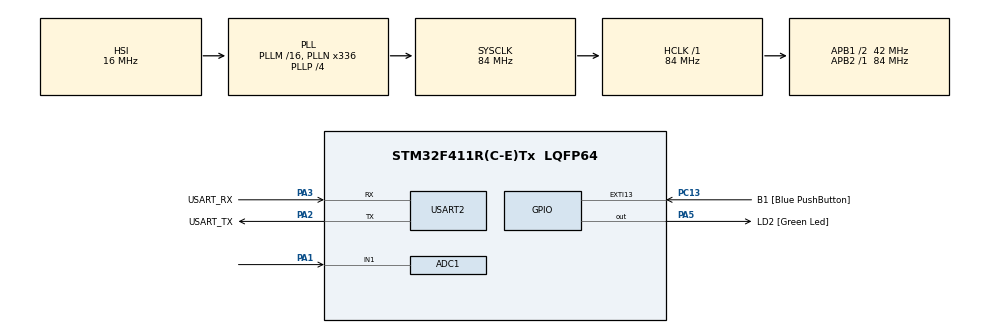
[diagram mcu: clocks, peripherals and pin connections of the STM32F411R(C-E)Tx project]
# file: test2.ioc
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ADC1.Channel-0\#ChannelRegularConversion=ADC_CHANNEL_1
ADC1.Channel-1\#ChannelRegularConversion=ADC_CHANNEL_TEMPSENSOR
ADC1.DMAContinuousRequests=ENABLE
ADC1.ExternalTrigConv=ADC_EXTERNALTRIGCONV_T2_TRGO
ADC1.InjNumberOfConversion=0
ADC1.NbrOfConversion=2
ADC1.NbrOfConversionFlag=1
ADC1.Rank-0\#ChannelRegularConversion=1
ADC1.Rank-1\#ChannelRegularConversion=2
ADC1.SamplingTime-0\#ChannelRegularConversion=ADC_SAMPLETIME_480CYCLES
ADC1.SamplingTime-1\#ChannelRegularConversion=ADC_SAMPLETIME_480CYCLES
ADC1.ScanConvMode=ENABLE
ADC1.master=1
Dma.ADC1.0.Direction=DMA_PERIPH_TO_MEMORY
Dma.ADC1.0.FIFOMode=DMA_FIFOMODE_DISABLE
Dma.ADC1.0.Instance=DMA2_Stream0
Dma.ADC1.0.MemDataAlignment=DMA_MDATAALIGN_HALFWORD
Dma.ADC1.0.MemInc=DMA_MINC_ENABLE
Dma.ADC1.0.Mode=DMA_CIRCULAR
Dma.ADC1.0.PeriphDataAlignment=DMA_PDATAALIGN_HALFWORD
Dma.ADC1.0.PeriphInc=DMA_PINC_DISABLE
Dma.ADC1.0.Priority=DMA_PRIORITY_LOW
Dma.Request0=ADC1
Dma.Request1=USART2_TX
Dma.USART2_TX.1.Direction=DMA_MEMORY_TO_PERIPH
Dma.USART2_TX.1.FIFOMode=DMA_FIFOMODE_DISABLE
Dma.USART2_TX.1.Instance=DMA1_Stream6
Dma.USART2_TX.1.MemDataAlignment=DMA_MDATAALIGN_BYTE
Dma.USART2_TX.1.MemInc=DMA_MINC_ENABLE
Dma.USART2_TX.1.Mode=DMA_NORMAL
Dma.USART2_TX.1.PeriphDataAlignment=DMA_PDATAALIGN_BYTE
Dma.USART2_TX.1.PeriphInc=DMA_PINC_DISABLE
Dma.USART2_TX.1.Priority=DMA_PRIORITY_LOW
Mcu.Family=STM32F4
Mcu.Name=STM32F411R(C-E)Tx
Mcu.Package=LQFP64
NVIC.DMA1_Stream6_IRQn=true\:0\:0\:false\:false\:true\:false\:true\:true
NVIC.DMA2_Stream0_IRQn=true\:0\:0\:false\:false\:true\:false\:true\:true
NVIC.PriorityGroup=NVIC_PRIORITYGROUP_0
NVIC.USART2_IRQn=true\:0\:0\:false\:false\:true\:true\:true\:true
PA1.Signal=ADCx_IN1
PA13.GPIO_Label=TMS
PA13.Mode=Serial_Wire
PA13.Signal=SYS_JTMS-SWDIO
PA14.GPIO_Label=TCK
PA14.Mode=Serial_Wire
PA14.Signal=SYS_JTCK-SWCLK
PA2.GPIO_Label=USART_TX
PA2.Mode=Asynchronous
PA2.Signal=USART2_TX
PA3.GPIO_Label=USART_RX
PA3.Mode=Asynchronous
PA3.Signal=USART2_RX
PA5.GPIO_Label=LD2 [Green Led]
PA5.Signal=GPIO_Output
PB3.GPIO_Label=SWO
PB3.Signal=SYS_JTDO-SWO
PC13-ANTI_TAMP.GPIO_Label=B1 [Blue PushButton]
PC13-ANTI_TAMP.GPIO_ModeDefaultEXTI=GPIO_MODE_IT_FALLING
PC13-ANTI_TAMP.Signal=GPXTI13
PC14-OSC32_IN.Mode=LSE-External-Oscillator
PC14-OSC32_IN.Signal=RCC_OSC32_IN
PC15-OSC32_OUT.Mode=LSE-External-Oscillator
PC15-OSC32_OUT.Signal=RCC_OSC32_OUT
PH0\ -\ OSC_IN.Mode=HSE-External-Clock-Source
PH0\ -\ OSC_IN.Signal=RCC_OSC_IN
PH1\ -\ OSC_OUT.Mode=HSE-External-Clock-Source
PH1\ -\ OSC_OUT.Signal=RCC_OSC_OUT
ProjectManager.HeapSize=0x200
ProjectManager.StackSize=0x400
ProjectManager.TargetToolchain=STM32CubeIDE
RCC.48MHZClocksFreq_Value=84000000
RCC.AHBFreq_Value=84000000
RCC.APB1CLKDivider=RCC_HCLK_DIV2
RCC.APB1Freq_Value=42000000
RCC.APB1TimFreq_Value=84000000
RCC.APB2Freq_Value=84000000
RCC.APB2TimFreq_Value=84000000
RCC.CortexFreq_Value=84000000
RCC.FLatency-AdvancedSettings=FLASH_LATENCY_2
RCC.HCLKFreq_Value=84000000
RCC.HSE_VALUE=8000000
RCC.HSI_VALUE=16000000
RCC.PLLN=336
RCC.PLLP=RCC_PLLP_DIV4
RCC.SYSCLKFreq_VALUE=84000000
RCC.SYSCLKSource=RCC_SYSCLKSOURCE_PLLCLK
RCC.VCOOutputFreq_Value=336000000
SH.ADCx_IN1.0=ADC1_IN1,IN1
TIM2.Period=29
TIM2.Prescaler=8399
TIM2.TIM_MasterOutputTrigger=TIM_TRGO_UPDATE
USART2.VirtualMode=VM_ASYNC
VP_ADC1_TempSens_Input.Mode=IN-TempSens
VP_TIM2_VS_ClockSourceINT.Mode=Internal
board=NUCLEO-F411RE

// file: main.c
/* USER CODE BEGIN Header */
/**
  ******************************************************************************
  * @file           : main.c
  * @brief          : Main program body
  ******************************************************************************
  * @attention
  *
  * Copyright (c) 2023 STMicroelectronics.
  * All rights reserved.
  *
  * This software is licensed under terms that can be found in the LICENSE file
  * in the root directory of this software component.
  * If no LICENSE file comes with this software, it is provided AS-IS.
  *
  ******************************************************************************
  */
/* USER CODE END Header */
#include "main.h"

ADC_HandleTypeDef hadc1;
DMA_HandleTypeDef hdma_adc1;

TIM_HandleTypeDef htim2;

UART_HandleTypeDef huart2;
DMA_HandleTypeDef hdma_usart2_tx;

/* USER CODE BEGIN PV */
volatile uint16_t ADC_READ[2];
volatile uint8_t buf_tx[100];
volatile uint8_t flag_tx = 0;
/* USER CODE END PV */

void SystemClock_Config(void);
static void MX_GPIO_Init(void);
static void MX_DMA_Init(void);
static void MX_USART2_UART_Init(void);
static void MX_ADC1_Init(void);
static void MX_TIM2_Init(void);
/* USER CODE BEGIN PFP */

void HAL_ADC_ConvCpltCallback(ADC_HandleTypeDef *hadc){
	if (hadc->Instance == ADC1) {
		if (flag_tx == 0) {
			uint16_t tx_cnt;
			tx_cnt = snprintf(buf_tx, sizeof(buf_tx), "%d, %d\n", ADC_READ[0], ADC_READ[1]);
			HAL_UART_Transmit_DMA(&huart2, buf_tx, tx_cnt);
			flag_tx = 1;
		}
	}
}

void HAL_UART_TxCpltCallback(UART_HandleTypeDef *huart) {
	if (huart->Instance == USART2) {
		flag_tx = 0;
	}
}

/* USER CODE END PFP */

int main(void)
{

  /* MCU Configuration--------------------------------------------------------*/

  /* Reset of all peripherals, Initializes the Flash interface and the Systick. */
  HAL_Init();

  /* Configure the system clock */
  SystemClock_Config();

  /* Initialize all configured peripherals */
  MX_GPIO_Init();
  MX_DMA_Init();
  MX_USART2_UART_Init();
  MX_ADC1_Init();
  MX_TIM2_Init();
  /* USER CODE BEGIN 2 */
  HAL_TIM_Base_Start(&htim2);
  HAL_ADC_Start_DMA(&hadc1, ADC_READ, 2);
  /* USER CODE END 2 */

  /* Infinite loop */
  while (1)
  {

  }
}

void SystemClock_Config(void)
{
  RCC_OscInitTypeDef RCC_OscInitStruct = {0};
  RCC_ClkInitTypeDef RCC_ClkInitStruct = {0};

  /** Configure the main internal regulator output voltage
  */
  __HAL_RCC_PWR_CLK_ENABLE();
  __HAL_PWR_VOLTAGESCALING_CONFIG(PWR_REGULATOR_VOLTAGE_SCALE1);

  /** Initializes the RCC Oscillators according to the specified parameters
  * in the RCC_OscInitTypeDef structure.
  */
  RCC_OscInitStruct.OscillatorType = RCC_OSCILLATORTYPE_HSI;
  RCC_OscInitStruct.HSIState = RCC_HSI_ON;
  RCC_OscInitStruct.HSICalibrationValue = RCC_HSICALIBRATION_DEFAULT;
  RCC_OscInitStruct.PLL.PLLState = RCC_PLL_ON;
  RCC_OscInitStruct.PLL.PLLSource = RCC_PLLSOURCE_HSI;
  RCC_OscInitStruct.PLL.PLLM = 16;
  RCC_OscInitStruct.PLL.PLLN = 336;
  RCC_OscInitStruct.PLL.PLLP = RCC_PLLP_DIV4;
  RCC_OscInitStruct.PLL.PLLQ = 4;
  if (HAL_RCC_OscConfig(&RCC_OscInitStruct) != HAL_OK)
  {
    Error_Handler();
  }

  /** Initializes the CPU, AHB and APB buses clocks
  */
  RCC_ClkInitStruct.ClockType = RCC_CLOCKTYPE_HCLK|RCC_CLOCKTYPE_SYSCLK
                              |RCC_CLOCKTYPE_PCLK1|RCC_CLOCKTYPE_PCLK2;
  RCC_ClkInitStruct.SYSCLKSource = RCC_SYSCLKSOURCE_PLLCLK;
  RCC_ClkInitStruct.AHBCLKDivider = RCC_SYSCLK_DIV1;
  RCC_ClkInitStruct.APB1CLKDivider = RCC_HCLK_DIV2;
  RCC_ClkInitStruct.APB2CLKDivider = RCC_HCLK_DIV1;

  if (HAL_RCC_ClockConfig(&RCC_ClkInitStruct, FLASH_LATENCY_2) != HAL_OK)
  {
    Error_Handler();
  }
}

static void MX_ADC1_Init(void)
{

  ADC_ChannelConfTypeDef sConfig = {0};

  /** Configure the global features of the ADC (Clock, Resolution, Data Alignment and number of conversion)
  */
  hadc1.Instance = ADC1;
  hadc1.Init.ClockPrescaler = ADC_CLOCK_SYNC_PCLK_DIV4;
  hadc1.Init.Resolution = ADC_RESOLUTION_12B;
  hadc1.Init.ScanConvMode = ENABLE;
  hadc1.Init.ContinuousConvMode = DISABLE;
  hadc1.Init.DiscontinuousConvMode = DISABLE;
  hadc1.Init.ExternalTrigConvEdge = ADC_EXTERNALTRIGCONVEDGE_RISING;
  hadc1.Init.ExternalTrigConv = ADC_EXTERNALTRIGCONV_T2_TRGO;
  hadc1.Init.DataAlign = ADC_DATAALIGN_RIGHT;
  hadc1.Init.NbrOfConversion = 2;
  hadc1.Init.DMAContinuousRequests = ENABLE;
  hadc1.Init.EOCSelection = ADC_EOC_SINGLE_CONV;
  if (HAL_ADC_Init(&hadc1) != HAL_OK)
  {
    Error_Handler();
  }

  /** Configure for the selected ADC regular channel its corresponding rank in the sequencer and its sample time.
  */
  sConfig.Channel = ADC_CHANNEL_1;
  sConfig.Rank = 1;
  sConfig.SamplingTime = ADC_SAMPLETIME_480CYCLES;
  if (HAL_ADC_ConfigChannel(&hadc1, &sConfig) != HAL_OK)
  {
    Error_Handler();
  }

  /** Configure for the selected ADC regular channel its corresponding rank in the sequencer and its sample time.
  */
  sConfig.Channel = ADC_CHANNEL_TEMPSENSOR;
  sConfig.Rank = 2;
  if (HAL_ADC_ConfigChannel(&hadc1, &sConfig) != HAL_OK)
  {
    Error_Handler();
  }

}

static void MX_TIM2_Init(void)
{

  TIM_ClockConfigTypeDef sClockSourceConfig = {0};
  TIM_MasterConfigTypeDef sMasterConfig = {0};

  htim2.Instance = TIM2;
  htim2.Init.Prescaler = 8399;
  htim2.Init.CounterMode = TIM_COUNTERMODE_UP;
  htim2.Init.Period = 29;
  htim2.Init.ClockDivision = TIM_CLOCKDIVISION_DIV1;
  htim2.Init.AutoReloadPreload = TIM_AUTORELOAD_PRELOAD_DISABLE;
  if (HAL_TIM_Base_Init(&htim2) != HAL_OK)
  {
    Error_Handler();
  }
  sClockSourceConfig.ClockSource = TIM_CLOCKSOURCE_INTERNAL;
  if (HAL_TIM_ConfigClockSource(&htim2, &sClockSourceConfig) != HAL_OK)
  {
    Error_Handler();
  }
  sMasterConfig.MasterOutputTrigger = TIM_TRGO_UPDATE;
  sMasterConfig.MasterSlaveMode = TIM_MASTERSLAVEMODE_DISABLE;
  if (HAL_TIMEx_MasterConfigSynchronization(&htim2, &sMasterConfig) != HAL_OK)
  {
    Error_Handler();
  }

}

static void MX_USART2_UART_Init(void)
{

  huart2.Instance = USART2;
  huart2.Init.BaudRate = 115200;
  huart2.Init.WordLength = UART_WORDLENGTH_8B;
  huart2.Init.StopBits = UART_STOPBITS_1;
  huart2.Init.Parity = UART_PARITY_NONE;
  huart2.Init.Mode = UART_MODE_TX_RX;
  huart2.Init.HwFlowCtl = UART_HWCONTROL_NONE;
  huart2.Init.OverSampling = UART_OVERSAMPLING_16;
  if (HAL_UART_Init(&huart2) != HAL_OK)
  {
    Error_Handler();
  }

}

static void MX_DMA_Init(void)
{

  /* DMA controller clock enable */
  __HAL_RCC_DMA2_CLK_ENABLE();
  __HAL_RCC_DMA1_CLK_ENABLE();

  /* DMA interrupt init */
  /* DMA1_Stream6_IRQn interrupt configuration */
  HAL_NVIC_SetPriority(DMA1_Stream6_IRQn, 0, 0);
  HAL_NVIC_EnableIRQ(DMA1_Stream6_IRQn);
  /* DMA2_Stream0_IRQn interrupt configuration */
  HAL_NVIC_SetPriority(DMA2_Stream0_IRQn, 0, 0);
  HAL_NVIC_EnableIRQ(DMA2_Stream0_IRQn);

}

static void MX_GPIO_Init(void)
{
  GPIO_InitTypeDef GPIO_InitStruct = {0};

  /* GPIO Ports Clock Enable */
  __HAL_RCC_GPIOC_CLK_ENABLE();
  __HAL_RCC_GPIOH_CLK_ENABLE();
  __HAL_RCC_GPIOA_CLK_ENABLE();
  __HAL_RCC_GPIOB_CLK_ENABLE();

  /*Configure GPIO pin Output Level */
  HAL_GPIO_WritePin(LD2_GPIO_Port, LD2_Pin, GPIO_PIN_RESET);

  /*Configure GPIO pin : B1_Pin */
  GPIO_InitStruct.Pin = B1_Pin;
  GPIO_InitStruct.Mode = GPIO_MODE_IT_FALLING;
  GPIO_InitStruct.Pull = GPIO_NOPULL;
  HAL_GPIO_Init(B1_GPIO_Port, &GPIO_InitStruct);

  /*Configure GPIO pin : LD2_Pin */
  GPIO_InitStruct.Pin = LD2_Pin;
  GPIO_InitStruct.Mode = GPIO_MODE_OUTPUT_PP;
  GPIO_InitStruct.Pull = GPIO_NOPULL;
  GPIO_InitStruct.Speed = GPIO_SPEED_FREQ_LOW;
  HAL_GPIO_Init(LD2_GPIO_Port, &GPIO_InitStruct);

}

void Error_Handler(void)
{
  __disable_irq();
  while (1)
  {
  }
}
